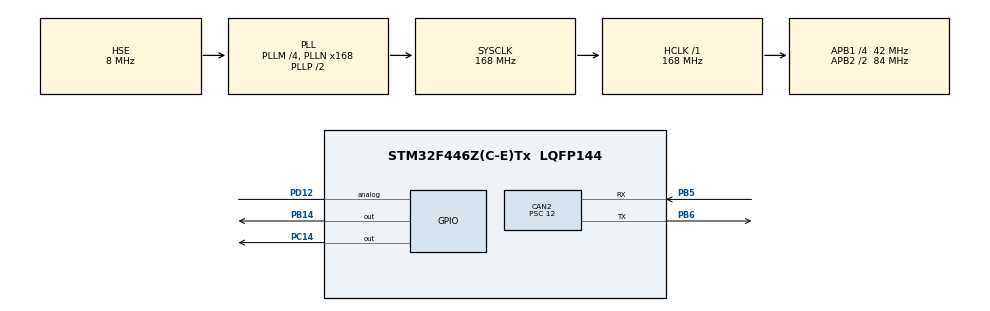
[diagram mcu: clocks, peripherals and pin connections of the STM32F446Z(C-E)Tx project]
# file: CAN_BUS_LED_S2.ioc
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CAN2.BS1=CAN_BS1_3TQ
CAN2.BS2=CAN_BS2_3TQ
CAN2.CalculateBaudRate=500000
CAN2.CalculateTimeBit=2000
CAN2.CalculateTimeQuantum=285.7142857142857
CAN2.Prescaler=12
Mcu.Family=STM32F4
Mcu.Name=STM32F446Z(C-E)Tx
Mcu.Package=LQFP144
NVIC.PriorityGroup=NVIC_PRIORITYGROUP_4
PA13.Mode=Serial_Wire
PA13.Signal=SYS_JTMS-SWDIO
PA14.Mode=Serial_Wire
PA14.Signal=SYS_JTCK-SWCLK
PB14.Signal=GPIO_Output
PB5.Mode=CAN_Activate
PB5.Signal=CAN2_RX
PB6.Mode=CAN_Activate
PB6.Signal=CAN2_TX
PC14-OSC32_IN.Signal=GPIO_Output
PD12.Signal=GPIO_Analog
PH0-OSC_IN.Mode=HSE-External-Oscillator
PH0-OSC_IN.Signal=RCC_OSC_IN
PH1-OSC_OUT.Mode=HSE-External-Oscillator
PH1-OSC_OUT.Signal=RCC_OSC_OUT
ProjectManager.HeapSize=0x200
ProjectManager.StackSize=0x400
ProjectManager.TargetToolchain=STM32CubeIDE
RCC.AHBFreq_Value=168000000
RCC.APB1CLKDivider=RCC_HCLK_DIV4
RCC.APB1Freq_Value=42000000
RCC.APB1TimFreq_Value=84000000
RCC.APB2CLKDivider=RCC_HCLK_DIV2
RCC.APB2Freq_Value=84000000
RCC.APB2TimFreq_Value=168000000
RCC.CortexFreq_Value=168000000
RCC.HCLKFreq_Value=168000000
RCC.HSE_VALUE=8000000
RCC.PLLM=4
RCC.PLLN=168
RCC.PLLSourceVirtual=RCC_PLLSOURCE_HSE
RCC.SYSCLKFreq_VALUE=168000000
RCC.SYSCLKSource=RCC_SYSCLKSOURCE_PLLCLK
RCC.USBFreq_Value=168000000
RCC.VCOOutputFreq_Value=336000000
board=custom

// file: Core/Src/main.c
/* USER CODE BEGIN Header */
/**
  ******************************************************************************
  * @file           : main.c
  * @brief          : Main program body
  ******************************************************************************
  * @attention
  *
  * Copyright (c) 2024 STMicroelectronics.
  * All rights reserved.
  *
  * This software is licensed under terms that can be found in the LICENSE file
  * in the root directory of this software component.
  * If no LICENSE file comes with this software, it is provided AS-IS.
  *
  ******************************************************************************
  */
/* USER CODE END Header */
#include "main.h"

CAN_HandleTypeDef hcan2;

void SystemClock_Config(void);
static void MX_GPIO_Init(void);
static void MX_CAN2_Init(void);

/* USER CODE BEGIN 0 */
CAN_RxHeaderTypeDef alici_yapi;

uint8_t gelenVeriler[8];
uint32_t vericiBilgileri[5];

/* USER CODE END 0 */

int main(void)
{

  /* MCU Configuration--------------------------------------------------------*/

  /* Reset of all peripherals, Initializes the Flash interface and the Systick. */
  HAL_Init();

  /* Configure the system clock */
  SystemClock_Config();

  /* Initialize all configured peripherals */
  MX_GPIO_Init();
  MX_CAN2_Init();
  /* USER CODE BEGIN 2 */
  HAL_CAN_Start(&hcan2);

  /* USER CODE END 2 */

  /* Infinite loop */
  while (1)
  {

    /* USER CODE BEGIN 3 */
	  HAL_CAN_GetRxMessage(&hcan2, CAN_RX_FIFO0, &alici_yapi, gelenVeriler);

	  vericiBilgileri[0] = alici_yapi.StdId;
	  vericiBilgileri[1] = alici_yapi.ExtId;
	  vericiBilgileri[2] = alici_yapi.IDE;
	  vericiBilgileri[3] = alici_yapi.RTR;
	  vericiBilgileri[4] = alici_yapi.DLC;

	   if (HAL_CAN_GetRxMessage(&hcan2, CAN_RX_FIFO0, &alici_yapi, gelenVeriler) == HAL_OK)
	   {
	      if (alici_yapi.StdId == 0x601)
	      {  // Check if the ID is 601 (0x259 in hex)
	        HAL_GPIO_TogglePin(GPIOC, GPIO_PIN_14);
	        // Toggle the LED
	      }
	      HAL_Delay(100);
	   }

  }
  /* USER CODE END 3 */
}

void SystemClock_Config(void)
{
  RCC_OscInitTypeDef RCC_OscInitStruct = {0};
  RCC_ClkInitTypeDef RCC_ClkInitStruct = {0};

  /** Configure the main internal regulator output voltage
  */
  __HAL_RCC_PWR_CLK_ENABLE();
  __HAL_PWR_VOLTAGESCALING_CONFIG(PWR_REGULATOR_VOLTAGE_SCALE1);

  /** Initializes the RCC Oscillators according to the specified parameters
  * in the RCC_OscInitTypeDef structure.
  */
  RCC_OscInitStruct.OscillatorType = RCC_OSCILLATORTYPE_HSE;
  RCC_OscInitStruct.HSEState = RCC_HSE_ON;
  RCC_OscInitStruct.PLL.PLLState = RCC_PLL_ON;
  RCC_OscInitStruct.PLL.PLLSource = RCC_PLLSOURCE_HSE;
  RCC_OscInitStruct.PLL.PLLM = 4;
  RCC_OscInitStruct.PLL.PLLN = 168;
  RCC_OscInitStruct.PLL.PLLP = RCC_PLLP_DIV2;
  RCC_OscInitStruct.PLL.PLLQ = 2;
  RCC_OscInitStruct.PLL.PLLR = 2;
  if (HAL_RCC_OscConfig(&RCC_OscInitStruct) != HAL_OK)
  {
    Error_Handler();
  }

  /** Initializes the CPU, AHB and APB buses clocks
  */
  RCC_ClkInitStruct.ClockType = RCC_CLOCKTYPE_HCLK|RCC_CLOCKTYPE_SYSCLK
                              |RCC_CLOCKTYPE_PCLK1|RCC_CLOCKTYPE_PCLK2;
  RCC_ClkInitStruct.SYSCLKSource = RCC_SYSCLKSOURCE_PLLCLK;
  RCC_ClkInitStruct.AHBCLKDivider = RCC_SYSCLK_DIV1;
  RCC_ClkInitStruct.APB1CLKDivider = RCC_HCLK_DIV4;
  RCC_ClkInitStruct.APB2CLKDivider = RCC_HCLK_DIV2;

  if (HAL_RCC_ClockConfig(&RCC_ClkInitStruct, FLASH_LATENCY_5) != HAL_OK)
  {
    Error_Handler();
  }
}

static void MX_CAN2_Init(void)
{

  hcan2.Instance = CAN2;
  hcan2.Init.Prescaler = 12;
  hcan2.Init.Mode = CAN_MODE_NORMAL;
  hcan2.Init.SyncJumpWidth = CAN_SJW_1TQ;
  hcan2.Init.TimeSeg1 = CAN_BS1_3TQ;
  hcan2.Init.TimeSeg2 = CAN_BS2_3TQ;
  hcan2.Init.TimeTriggeredMode = DISABLE;
  hcan2.Init.AutoBusOff = DISABLE;
  hcan2.Init.AutoWakeUp = DISABLE;
  hcan2.Init.AutoRetransmission = DISABLE;
  hcan2.Init.ReceiveFifoLocked = DISABLE;
  hcan2.Init.TransmitFifoPriority = DISABLE;
  if (HAL_CAN_Init(&hcan2) != HAL_OK)
  {
    Error_Handler();
  }
  /* USER CODE BEGIN CAN2_Init 2 */
  CAN_FilterTypeDef can_filre_yapi;
  can_filre_yapi.FilterActivation = CAN_FILTER_ENABLE;
  can_filre_yapi.FilterBank = 0;
  can_filre_yapi.FilterFIFOAssignment = CAN_FILTER_FIFO0;
  can_filre_yapi.FilterIdHigh = 0x0601 << 5;
  can_filre_yapi.FilterIdLow = 0x0000;
  can_filre_yapi.FilterMaskIdHigh = 0xFFFF;
  can_filre_yapi.FilterMaskIdLow = 0x0000;
  can_filre_yapi.FilterMode = CAN_FILTERMODE_IDMASK;
  can_filre_yapi.FilterScale = CAN_FILTERSCALE_32BIT;
  can_filre_yapi.SlaveStartFilterBank = 0;
  HAL_CAN_ConfigFilter(&hcan2, &can_filre_yapi);

  /* USER CODE END CAN2_Init 2 */

}

static void MX_GPIO_Init(void)
{
  GPIO_InitTypeDef GPIO_InitStruct = {0};

  /* GPIO Ports Clock Enable */
  __HAL_RCC_GPIOC_CLK_ENABLE();
  __HAL_RCC_GPIOH_CLK_ENABLE();
  __HAL_RCC_GPIOB_CLK_ENABLE();
  __HAL_RCC_GPIOD_CLK_ENABLE();
  __HAL_RCC_GPIOA_CLK_ENABLE();

  /*Configure GPIO pin Output Level */
  HAL_GPIO_WritePin(GPIOC, GPIO_PIN_14, GPIO_PIN_RESET);

  /*Configure GPIO pin Output Level */
  HAL_GPIO_WritePin(GPIOB, GPIO_PIN_14, GPIO_PIN_RESET);

  /*Configure GPIO pin : PC14 */
  GPIO_InitStruct.Pin = GPIO_PIN_14;
  GPIO_InitStruct.Mode = GPIO_MODE_OUTPUT_PP;
  GPIO_InitStruct.Pull = GPIO_NOPULL;
  GPIO_InitStruct.Speed = GPIO_SPEED_FREQ_LOW;
  HAL_GPIO_Init(GPIOC, &GPIO_InitStruct);

  /*Configure GPIO pin : PB14 */
  GPIO_InitStruct.Pin = GPIO_PIN_14;
  GPIO_InitStruct.Mode = GPIO_MODE_OUTPUT_PP;
  GPIO_InitStruct.Pull = GPIO_NOPULL;
  GPIO_InitStruct.Speed = GPIO_SPEED_FREQ_LOW;
  HAL_GPIO_Init(GPIOB, &GPIO_InitStruct);

  /*Configure GPIO pin : PD12 */
  GPIO_InitStruct.Pin = GPIO_PIN_12;
  GPIO_InitStruct.Mode = GPIO_MODE_ANALOG;
  GPIO_InitStruct.Pull = GPIO_NOPULL;
  HAL_GPIO_Init(GPIOD, &GPIO_InitStruct);

}

void Error_Handler(void)
{
  __disable_irq();
  while (1)
  {
  }
}
